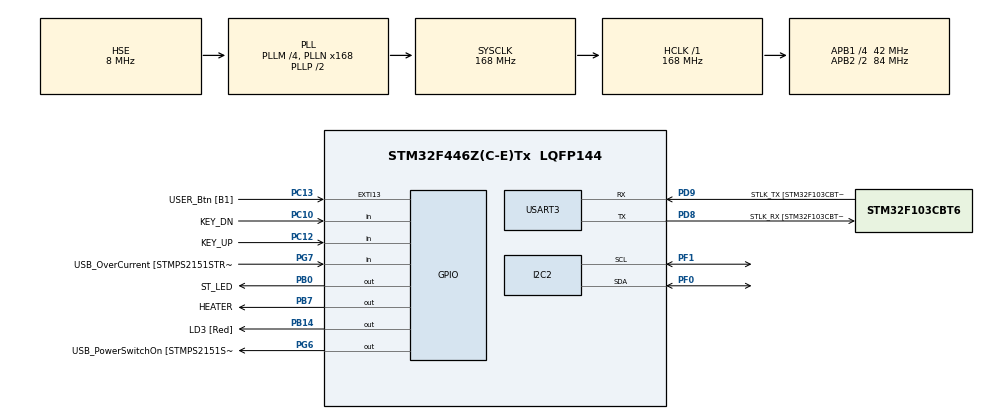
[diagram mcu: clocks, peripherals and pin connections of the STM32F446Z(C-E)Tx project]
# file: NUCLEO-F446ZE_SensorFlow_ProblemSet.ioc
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FREERTOS.MEMORY_ALLOCATION=0
FREERTOS.Tasks01=defaultTask,0,512,StartDefaultTask,Default,NULL,Dynamic,NULL,NULL
FREERTOS.configENABLE_FPU=1
FREERTOS.configMAX_PRIORITIES=20
FREERTOS.configMINIMAL_STACK_SIZE=512
FREERTOS.configRECORD_STACK_HIGH_ADDRESS=1
FREERTOS.configUSE_NEWLIB_REENTRANT=1
FREERTOS.configUSE_TIMERS=1
Mcu.Family=STM32F4
Mcu.Name=STM32F446Z(C-E)Tx
Mcu.Package=LQFP144
NVIC.PriorityGroup=NVIC_PRIORITYGROUP_4
NVIC.TIM6_DAC_IRQn=true\:15\:0\:false\:false\:true\:false\:false\:true\:true
NVIC.TimeBase=TIM6_DAC_IRQn
NVIC.TimeBaseIP=TIM6
PA13.GPIO_Label=TMS
PA13.Mode=Trace_Asynchronous_SW
PA13.Signal=SYS_JTMS-SWDIO
PA14.GPIO_Label=TCK
PA14.Mode=Trace_Asynchronous_SW
PA14.Signal=SYS_JTCK-SWCLK
PB0.GPIO_Label=ST_LED
PB0.Signal=GPIO_Output
PB14.GPIO_Label=LD3 [Red]
PB14.Signal=GPIO_Output
PB3.Mode=Trace_Asynchronous_SW
PB3.Signal=SYS_JTDO-SWO
PB7.GPIO_Label=HEATER
PB7.Signal=GPIO_Output
PC10.GPIO_Label=KEY_DN
PC10.Signal=GPIO_Input
PC12.GPIO_Label=KEY_UP
PC12.Signal=GPIO_Input
PC13.GPIO_Label=USER_Btn [B1]
PC13.Signal=GPXTI13
PC14-OSC32_IN.Mode=LSE-External-Oscillator
PC14-OSC32_IN.Signal=RCC_OSC32_IN
PC15-OSC32_OUT.Mode=LSE-External-Oscillator
PC15-OSC32_OUT.Signal=RCC_OSC32_OUT
PD8.GPIO_Label=STLK_RX [STM32F103CBT6_PA3]
PD8.Mode=Asynchronous
PD8.Signal=USART3_TX
PD9.GPIO_Label=STLK_TX [STM32F103CBT6_PA2]
PD9.Mode=Asynchronous
PD9.Signal=USART3_RX
PF0.Mode=I2C
PF0.Signal=I2C2_SDA
PF1.Mode=I2C
PF1.Signal=I2C2_SCL
PG6.GPIO_Label=USB_PowerSwitchOn [STMPS2151STR_EN]
PG6.Signal=GPIO_Output
PG7.GPIO_Label=USB_OverCurrent [STMPS2151STR_FAULT]
PG7.Signal=GPIO_Input
PH0-OSC_IN.GPIO_Label=MCO [STM32F103CBT6_PA8]
PH0-OSC_IN.Mode=HSE-External-Clock-Source
PH0-OSC_IN.Signal=RCC_OSC_IN
PH1-OSC_OUT.Mode=HSE-External-Clock-Source
PH1-OSC_OUT.Signal=RCC_OSC_OUT
ProjectManager.HeapSize=0x200
ProjectManager.StackSize=0x400
ProjectManager.TargetToolchain=STM32CubeIDE
RCC.48MHZClocksFreq_Value=24000000
RCC.AHBFreq_Value=168000000
RCC.APB1CLKDivider=RCC_HCLK_DIV4
RCC.APB1Freq_Value=42000000
RCC.APB1TimFreq_Value=84000000
RCC.APB2CLKDivider=RCC_HCLK_DIV2
RCC.APB2Freq_Value=84000000
RCC.APB2TimFreq_Value=168000000
RCC.CortexFreq_Value=168000000
RCC.HCLKFreq_Value=168000000
RCC.HSE_VALUE=8000000
RCC.HSI_VALUE=16000000
RCC.PLLM=4
RCC.PLLMUL=RCC_PLL_MUL9
RCC.PLLN=168
RCC.PLLQ=7
RCC.PLLSourceVirtual=RCC_PLLSOURCE_HSE
RCC.PRESCALERUSB=RCC_USBCLKSOURCE_PLL_DIV1_5
RCC.SYSCLKFreq_VALUE=168000000
RCC.SYSCLKSource=RCC_SYSCLKSOURCE_PLLCLK
RCC.SYSCLKSourceVirtual=RCC_SYSCLKSOURCE_PLLCLK
RCC.USBFreq_Value=48000000
RCC.VCOOutputFreq_Value=336000000
USART3.VirtualMode=VM_ASYNC
VP_FREERTOS_VS_CMSIS_V1.Mode=CMSIS_V1
VP_SYS_VS_tim6.Mode=TIM6
board=NUCLEO-F446ZE

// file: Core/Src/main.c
/* USER CODE BEGIN Header */
/**
  ******************************************************************************
  * @file           : main.c
  * @brief          : Main program body
  ******************************************************************************
  * @attention
  *
  * Copyright (c) 2024 STMicroelectronics.
  * All rights reserved.
  *
  * This software is licensed under terms that can be found in the LICENSE file
  * in the root directory of this software component.
  * If no LICENSE file comes with this software, it is provided AS-IS.
  *
  ******************************************************************************
  */
/* USER CODE END Header */
#include "main.h"
#include "cmsis_os.h"
#include "i2c.h"
#include "usart.h"
#include "gpio.h"

void SystemClock_Config(void);
void MX_FREERTOS_Init(void);

int main(void)
{

  /* MCU Configuration--------------------------------------------------------*/

  /* Reset of all peripherals, Initializes the Flash interface and the Systick. */
  HAL_Init();

  /* Configure the system clock */
  SystemClock_Config();

  /* Initialize all configured peripherals */
  MX_GPIO_Init();
  MX_USART3_UART_Init();
  MX_I2C2_Init();

  /* Call init function for freertos objects (in cmsis_os2.c) */
  MX_FREERTOS_Init();

  /* Start scheduler */
  //osKernelStart();

  /* We should never get here as control is now taken by the scheduler */

  /* Infinite loop */
  /* USER CODE BEGIN WHILE */
  vTaskStartScheduler();
  while (1)
  {
    /* USER CODE END WHILE */

  }
}

void SystemClock_Config(void)
{
  RCC_OscInitTypeDef RCC_OscInitStruct = {0};
  RCC_ClkInitTypeDef RCC_ClkInitStruct = {0};

  /** Configure the main internal regulator output voltage
  */
  __HAL_RCC_PWR_CLK_ENABLE();
  __HAL_PWR_VOLTAGESCALING_CONFIG(PWR_REGULATOR_VOLTAGE_SCALE1);

  /** Initializes the RCC Oscillators according to the specified parameters
  * in the RCC_OscInitTypeDef structure.
  */
  RCC_OscInitStruct.OscillatorType = RCC_OSCILLATORTYPE_HSE;
  RCC_OscInitStruct.HSEState = RCC_HSE_BYPASS;
  RCC_OscInitStruct.PLL.PLLState = RCC_PLL_ON;
  RCC_OscInitStruct.PLL.PLLSource = RCC_PLLSOURCE_HSE;
  RCC_OscInitStruct.PLL.PLLM = 4;
  RCC_OscInitStruct.PLL.PLLN = 168;
  RCC_OscInitStruct.PLL.PLLP = RCC_PLLP_DIV2;
  RCC_OscInitStruct.PLL.PLLQ = 7;
  RCC_OscInitStruct.PLL.PLLR = 2;
  if (HAL_RCC_OscConfig(&RCC_OscInitStruct) != HAL_OK)
  {
    Error_Handler();
  }

  /** Initializes the CPU, AHB and APB buses clocks
  */
  RCC_ClkInitStruct.ClockType = RCC_CLOCKTYPE_HCLK|RCC_CLOCKTYPE_SYSCLK
                              |RCC_CLOCKTYPE_PCLK1|RCC_CLOCKTYPE_PCLK2;
  RCC_ClkInitStruct.SYSCLKSource = RCC_SYSCLKSOURCE_PLLCLK;
  RCC_ClkInitStruct.AHBCLKDivider = RCC_SYSCLK_DIV1;
  RCC_ClkInitStruct.APB1CLKDivider = RCC_HCLK_DIV4;
  RCC_ClkInitStruct.APB2CLKDivider = RCC_HCLK_DIV2;

  if (HAL_RCC_ClockConfig(&RCC_ClkInitStruct, FLASH_LATENCY_5) != HAL_OK)
  {
    Error_Handler();
  }
}

void HAL_TIM_PeriodElapsedCallback(TIM_HandleTypeDef *htim)
{
  if (htim->Instance == TIM6) {
    HAL_IncTick();
  }
}

void Error_Handler(void)
{
  __disable_irq();
  while (1)
  {
  }
}

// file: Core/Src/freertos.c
/* USER CODE BEGIN Header */
/**
  ******************************************************************************
  * File Name          : freertos.c
  * Description        : Code for freertos applications
  ******************************************************************************
  * @attention
  *
  * Copyright (c) 2024 STMicroelectronics.
  * All rights reserved.
  *
  * This software is licensed under terms that can be found in the LICENSE file
  * in the root directory of this software component.
  * If no LICENSE file comes with this software, it is provided AS-IS.
  *
  ******************************************************************************
  */
/* USER CODE END Header */

#include "FreeRTOS.h"
#include "task.h"
//#include "main.h"
#include "cmsis_os.h"

/* USER CODE BEGIN Includes */
#include <string.h>
#include <stdio.h>
#include "tasks.h"
#include "timer_svc.h"

/* USER CODE END Includes */

/* USER CODE BEGIN PD */

// Timer svc
#define TIMER_LED_FREQ_MS			(50)

/* USER CODE END PD */

/* USER CODE BEGIN Variables */
TaskHandle_t xSensorReadHandle = NULL;
TaskHandle_t xControlHandle = NULL;
TaskHandle_t xSetpointHandle = NULL;
TaskHandle_t xLoggerHandle = NULL;

xQueueHandle xTempMeasuredQueue;
xQueueHandle xSetpointDataQueue;
xQueueHandle xTempDataQueue;
xQueueHandle xLoggerQueue;

TimerHandle_t TimerStatLed = NULL;

/* USER CODE END Variables */
//osThreadId defaultTaskHandle;

void MX_FREERTOS_Init(void); /* (MISRA C 2004 rule 8.1) */

void MX_FREERTOS_Init(void)
{
  /* USER CODE BEGIN RTOS_THREADS */
  /* add threads, ... */
	xTempMeasuredQueue = xQueueCreate(1, sizeof(int16_t));
	if (xTempMeasuredQueue == 0)
	{
		while(1);
	}

	xSetpointDataQueue = xQueueCreate(1, sizeof(int16_t));
	if (xSetpointDataQueue == 0)
	{
		while(1);
	}

	xTempDataQueue = xQueueCreate(1, sizeof(TempData));
	if (xTempDataQueue == 0)
	{
		while(1);
	}

	xLoggerQueue = xQueueCreate(1, sizeof(TempData));
	if (xLoggerQueue == 0)
	{
		while(1);
	}

    xTaskCreate(StartSensorReadTask,
		        "SENSOR_READ",
			    512,
			    NULL,
			    8,
			    &xSensorReadHandle);

    xTaskCreate(StartControlTask,
		        "CONTROL",
			    512,
			    NULL,
			    8,
			    &xControlHandle);

    xTaskCreate(StartSetpointTask,
		        "SETPOINT",
			    512,
			    NULL,
			    8,
			    &xSetpointHandle);

    xTaskCreate(StartLoggerTask,
		        "LOGGER",
			    512,
			    NULL,
			    8,
			    &xLoggerHandle);

    TimerStatLed = xTimerCreate("LED-TIMER",
    		                    pdMS_TO_TICKS(TIMER_LED_FREQ_MS),
								pdTRUE,
								NULL,
								TimerLedCallback);

    xTimerStart(TimerStatLed, pdMS_TO_TICKS(0));
    /* USER CODE END RTOS_THREADS */
}

/* USER CODE BEGIN Application */

/* Private application code --------------------------------------------------*/
/* USER CODE BEGIN Application */

/* USER CODE END Application */
